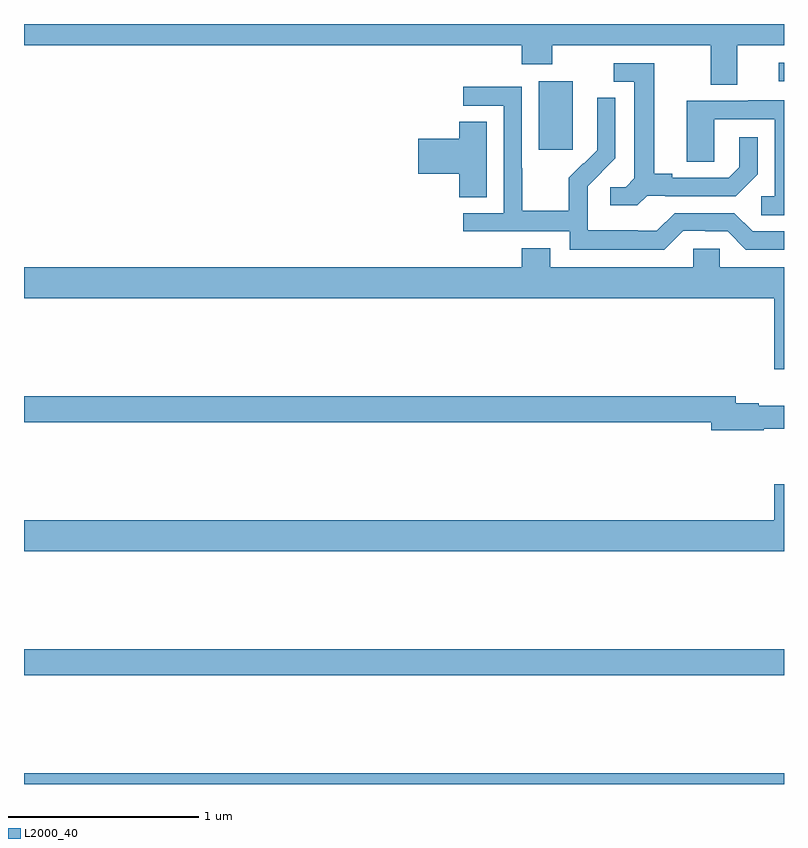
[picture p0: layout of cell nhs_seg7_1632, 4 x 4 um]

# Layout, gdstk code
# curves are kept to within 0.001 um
import gdstk
lib = gdstk.Library(unit=1e-6, precision=1e-09)
def R(c, l, rs):  # rectangles x0, y0, x1, y1
    for r in rs: c.add(gdstk.rectangle(r[:2], r[2:], *l))
def P(c, l, *ps):  # polygons
    for p in ps: c.add(gdstk.Polygon(p, *l))
L2000_40 = (2000, 40)

nhs_seg7_1632 = lib.new_cell('nhs_seg7_1632')
R(nhs_seg7_1632, L2000_40, [(221,1058,225,1058.056), (221,1058.572,225,1058.708), (223.709,1061.337,223.888,1061.698), (224.973,1061.7,225,1061.796)])
P(nhs_seg7_1632, L2000_40, [(224.755,1061.888),(225,1061.888),(225,1062),(221,1062),(221,1061.888),(223.619,1061.888),(223.619,1061.789),(223.779,1061.789),(223.779,1061.888),(224.615,1061.888),(224.615,1061.68),(224.755,1061.68)],
  [(224.28,1061.097),(224.374,1061.097),(224.374,1061.094),(224.746,1061.094),(224.862,1061.21),(224.862,1061.404),(224.765,1061.404),(224.765,1061.247),(224.708,1061.19),(224.413,1061.19),(224.413,1061.213),(224.317,1061.213),(224.317,1061.793),(224.103,1061.793),(224.103,1061.697),(224.213,1061.697),(224.213,1061.189),(224.166,1061.142),(224.085,1061.142),(224.085,1061.045),(224.228,1061.045)],
  [(224.469,1060.911),(224.585,1060.911),(224.585,1060.908),(224.703,1060.908),(224.799,1060.812),(225,1060.812),(225,1060.908),(224.835,1060.908),(224.739,1061.004),(224.424,1061.004),(224.331,1060.911),(224.231,1060.911),(224.231,1060.915),(223.968,1060.915),(223.968,1061.049),(223.966,1061.049),(223.966,1061.146),(224.112,1061.294),(224.112,1061.612),(224.016,1061.612),(224.016,1061.458),(224.018,1061.458),(224.018,1061.336),(223.947,1061.265),(223.944,1061.268),(223.867,1061.191),(223.867,1061.017),(223.623,1061.017),(223.623,1061.24),(223.62,1061.24),(223.62,1061.67),(223.311,1061.67),(223.311,1061.571),(223.524,1061.571),(223.524,1061.004),(223.311,1061.004),(223.311,1060.908),(223.872,1060.908),(223.872,1060.811),(224.369,1060.811)],
  [(225,1061.599),(224.813,1061.599),(224.813,1061.595),(224.489,1061.595),(224.489,1061.275),(224.634,1061.275),(224.634,1061.499),(224.952,1061.499),(224.952,1061.094),(224.88,1061.094),(224.88,1060.993),(225,1060.993)],
  [(223.435,1061.486),(223.292,1061.486),(223.292,1061.396),(223.074,1061.396),(223.074,1061.213),(223.292,1061.213),(223.292,1061.089),(223.435,1061.089)],
  [(225,1060.72),(224.661,1060.72),(224.661,1060.818),(224.523,1060.818),(224.523,1060.72),(223.771,1060.72),(223.771,1060.819),(223.619,1060.819),(223.619,1060.72),(221,1060.72),(221,1060.556),(224.948,1060.556),(224.948,1060.182),(225,1060.182)],
  [(224.894,1059.869),(225,1059.869),(225,1059.991),(224.868,1059.991),(224.868,1060.004),(224.746,1060.004),(224.746,1060.04),(221,1060.04),(221,1059.904),(224.618,1059.904),(224.618,1059.862),(224.894,1059.862)],
  [(225,1059.577),(224.948,1059.577),(224.948,1059.388),(221,1059.388),(221,1059.224),(225,1059.224)])

lib.write_gds('nhs_seg7_1632.gds')
